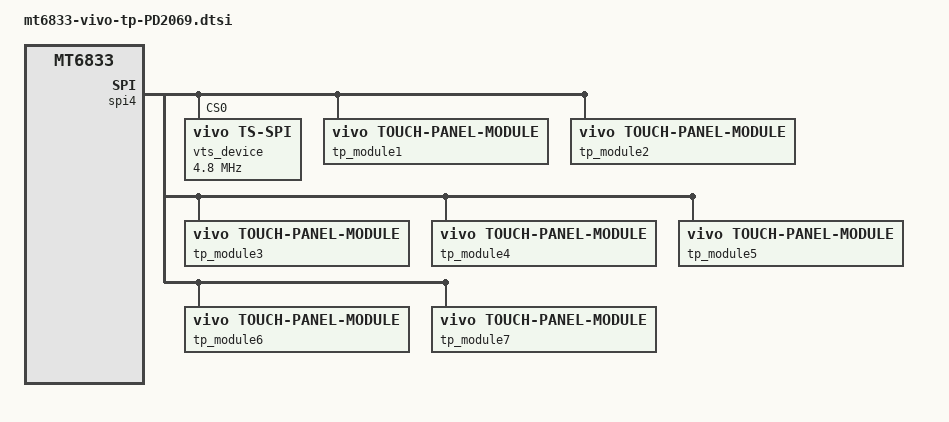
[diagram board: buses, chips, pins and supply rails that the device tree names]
&pio {
	pd2069_tp_spi_mode: clk_mode_default {
		pins_cmd_dat {
			pinmux = <PINMUX_GPIO97__FUNC_SPI4_CLK>;
			drive-strength = <3>;
		};
	};
};

&spi4 {
	status = "okay";
	vts_device@0 {
		compatible = "vivo,ts-spi";
		status = "okay";
		reg=<0>;
		spi-max-frequency = <4800000>;
		pinctrl-names = "default";
		pinctrl-0 = <&pd2069_tp_spi_mode>;
		nt36672 {
			compatible = "novatek,NVT-ts-spi-v2";
			status = "ok";

			vts-type=<0>;
			vts-ic-number=<81>;
			spi-max-frequency = <9600000>;	//4800000,9600000,15000000,19200000
			novatek,reset-gpio = <&pio 186 0x00>;
			novatek,irq-gpio = <&pio 14 0x2001>;
			novatek,cs-gpio = <&pio 98 0x00>;
			novatek,miso-gpio = <&pio 12 0x00>;
			sensor-test-key="com.nttouchscreen.mptest:MainActivity:android.intent.action.novatek:0:testResult";
			lcm-noise-test-key="com.nt36xxxtouchscreen.deltadiff:MainActivity:null:null:null";
			rawdata-test-key="com.nttouchscreen.getdata:MainActivity:null:null:null";
			rf-noise-test-key="com.nt36xxxtouchscreen.deltadiff:BspTest:android.intent.action.nvtdeltadiff:0:testResult";
			
			novatek,swrst-n8-addr = <0x03F0FE>;

			//vts-incell-panel = <&dsi_nt36675_tm_fhdplus_video &dsi_ft8756_truly_fhdplus_video &dsi_nt36672c_tm657_dsc_fhdplus_video>;

		};
		
		ili_9882n {
			status = "okay";
			compatible = "tchip,ilitek";
			vts-type=<0>;
			vts-ic-number=<91>;
			spi-max-frequency = <9600000>;
			touch,reset-gpio = <&pio 186 0x00>;
			touch,irq-gpio = <&pio 14 0x2001>;

			sensor-test-key="com.ilitek.touchscreen.tptest3X:MP3XActivity:com.ilitek.touchscreen.action.tptest:0:ILITEK_TpTestResult";
			lcm-noise-test-key="com.ilitek.touchscreen.noisev2:MainActivity:null:null:null"; 
			rawdata-test-key="com.ilitek.touchscreen.noisev2:DataShowActivity:null:null:null";
			rf-noise-test-key="com.ilitek.touchscreen.noisev2:BspTestActivity:com.ilitek.touchscreen.action.noisetest:0:ILITEK_TpTestResult";
			//vts-incell-panel=<&dsi_pd2034_tm_ili9882n_hdplus_video &dsi_pd2034_inx_ili9882n_hdplus_video>;
		};

		hx83112 {
			compatible = "himax,hx83112-spi-v2";
			status = "ok";
			vts-type=<0>;
			vts-ic-number=<101>;
			spi-max-frequency = <9600000>;	//4800000,9600000,15000000,19200000
			himax,rst-gpio = <&pio 186 0x00>;
			himax,irq-gpio = <&pio 14 22 0x2001>;
			himax,panel-coords = <0 1080 0 2408>;
			himax,display-coords = <0 1080 0 2408>;
			himax,tx-sensors = <18>;
			himax,rx-sensors = <36>;

			sensor-test-key="com.himax.mpap:MainActivity:android.intent.action.himax:0:testResult";
			lcm-noise-test-key="com.ln2.himaxtouch:RawdataRecord.HoppingNoiseGet:null:null:null";
			rawdata-test-key="com.ln2.himaxtouch:DataShowActivity:null:null:null";
			rf-noise-test-key="com.ln2.himaxtouch:BspTestActivity:android.intent.action.himax:0:testResult";
		};

		ft8719 {
			compatible = "focaltech,ft8719_v2";
			status = "okay";

			vts-type=<0>;
			vts-ic-number=<36>;
			spi-max-frequency = <6000000>;	//4800000,9600000,15000000,19200000
			focaltech,reset-gpio = <&pio 186 0x00>;
			focaltech,irq-gpio = <&pio 14 0x02>;
			//focaltech,cs-gpio = <&pio 21 0x00>;
			focaltech,max-touch-number = <10>;
			focaltech,display-coords = <0 0 1080 2408>;

			sensor-test-key="com.focaltouchscreen.sensortest:MainActivity:com.focaltouchscreen.sensortest:0:focal_test_result";
			lcm-noise-test-key="com.focaltech.deltadiff:MainActivity:null:null:null";
			rawdata-test-key="com.focaltech.deltadiff:DataActivity:null:null:null";
			rf-noise-test-key="com.focaltech.deltadiff:BspTestActivity:com.focaltech.deltadiff:0:testResult";
		};
	};

	tp_module1 {
		compatible = "vivo,touch-panel-module";
		vts-ic-number=<81>;
		vts-type=<0>;
		vts-lcmid=<16>;
		vts-dimention-x=<1080>;
		vts-dimention-y=<2408>;
		vts-tx-sensors=<18>;
		vts-rx-sensors=<32>;
		vts-incell=<1>;
		vts-need-caliberation=<0>;
		vts-virtual-proximinity=<0>;
		vts-long-press=<0>;
		vts-module-vendor=<0xF0>;
		vts-no-flash=<1>;
		vts-game-mode=<1>;
		vts-game-idle-time=<10>;
		vts-report-timestamp=<1>;
	};
	
	tp_module2 {
		compatible = "vivo,touch-panel-module";
		vts-ic-number=<91>;
		vts-type=<0>;
		vts-lcmid=<128>;//0x80  HX	ILI 7808S 
		vts-dimention-x=<1080>;
		vts-dimention-y=<2408>;
		vts-tx-sensors=<16>;
		vts-rx-sensors=<36>;
		vts-incell=<1>;
 		vts-need-caliberation=<0>;
 		vts-virtual-proximinity=<0>;
 		vts-long-press=<0>;
		vts-module-vendor=<0xF0>;
		vts-no-flash=<1>;
		vts-gesture=<1>;
		vts-game-mode=<1>;
	};

	tp_module3 {
		compatible = "vivo,touch-panel-module";
		vts-ic-number=<81>;
		vts-type=<0>;
		vts-lcmid=<64>;
		vts-dimention-x=<1080>;
		vts-dimention-y=<2408>;
		vts-tx-sensors=<18>;
		vts-rx-sensors=<32>;
		vts-incell=<1>;
		vts-need-caliberation=<0>;
		vts-virtual-proximinity=<0>;
		vts-long-press=<0>;
		vts-module-vendor=<0xF0>;
		vts-no-flash=<1>;
		vts-game-mode=<1>;
		vts-game-idle-time=<10>;
		vts-report-timestamp=<1>;
	};

	tp_module4 {
		compatible = "vivo,touch-panel-module";
		vts-ic-number=<81>;
		vts-type=<0>;
		vts-lcmid=<17>;
		vts-dimention-x=<1080>;
		vts-dimention-y=<2408>;
		vts-tx-sensors=<18>;
		vts-rx-sensors=<32>;
		vts-incell=<1>;
		vts-need-caliberation=<0>;
		vts-virtual-proximinity=<0>;
		vts-long-press=<0>;
		vts-module-vendor=<0xF0>;
		vts-no-flash=<1>;
		vts-game-mode=<1>;
		vts-game-idle-time=<10>;
		vts-report-timestamp=<1>;
	};

	tp_module5 {
		compatible = "vivo,touch-panel-module";
		vts-ic-number=<91>;
		vts-type=<0>;
		vts-lcmid=<65>;// DJI	ILI 7808S 
		vts-dimention-x=<1080>;
		vts-dimention-y=<2408>;
		vts-tx-sensors=<16>;
		vts-rx-sensors=<36>;
		vts-incell=<1>;
 		vts-need-caliberation=<0>;
 		vts-virtual-proximinity=<0>;
 		vts-long-press=<0>;
		vts-module-vendor=<0xF0>;
		vts-no-flash=<1>;
		vts-gesture=<0>;
		vts-game-mode=<1>;
	};

	tp_module6 {
		compatible = "vivo,touch-panel-module";
		vts-ic-number=<101>;
		vts-type=<0>;
		vts-lcmid=<48>;//BOE himax112f
		vts-dimention-x=<1080>;
		vts-dimention-y=<2408>;
		vts-tx-sensors=<18>;
		vts-rx-sensors=<36>;
		vts-incell=<1>;
		vts-gesture=<1>;
		vts-need-caliberation=<0>;
		vts-virtual-proximinity=<0>;
		vts-long-press=<0>;
		vts-module-vendor=<0xD0>;
		vts-no-flash=<1>;
		vts-game-mode=<1>;
		vts-game-idle-time=<10>;
	};

	tp_module7 {
		compatible = "vivo,touch-panel-module";
		vts-ic-number=<36>;
		vts-type=<0>;
		vts-lcmid=<66>;		//1211710  ft8719+jd
		vts-dimention-x=<1080>;
		vts-dimention-y=<2408>;
		vts-tx-sensors=<16>;
		vts-rx-sensors=<36>;
		vts-gesture=<1>;
		vts-incell=<1>;
		vts-need-caliberation=<0>;
		vts-virtual-proximinity=<0>;
		vts-long-press=<0>;
		vts-module-vendor=<0xF0>;
		vts-no-flash=<1>;
		vts-game-mode=<1>;
		vts-game-idle-time=<10>;
		vts-report-timestamp=<1>;
		vts-no-flash-unique-code=<1>;
	};
};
